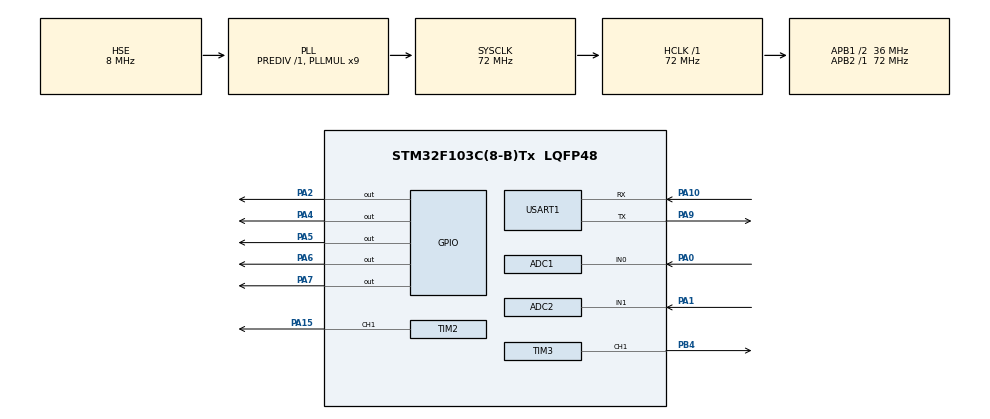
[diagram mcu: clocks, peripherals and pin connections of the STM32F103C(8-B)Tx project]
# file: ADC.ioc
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ADC1.Channel-0\#ChannelRegularConversion=ADC_CHANNEL_0
ADC1.NbrOfConversionFlag=1
ADC1.Rank-0\#ChannelRegularConversion=1
ADC1.SamplingTime-0\#ChannelRegularConversion=ADC_SAMPLETIME_1CYCLE_5
ADC1.master=1
ADC2.Channel-0\#ChannelRegularConversion=ADC_CHANNEL_1
ADC2.NbrOfConversionFlag=1
ADC2.Rank-0\#ChannelRegularConversion=1
ADC2.SamplingTime-0\#ChannelRegularConversion=ADC_SAMPLETIME_1CYCLE_5
Mcu.Family=STM32F1
Mcu.Name=STM32F103C(8-B)Tx
Mcu.Package=LQFP48
NVIC.PriorityGroup=NVIC_PRIORITYGROUP_4
NVIC.TIM2_IRQn=true\:0\:0\:false\:false\:true\:true\:true\:true
NVIC.TIM3_IRQn=true\:0\:0\:false\:false\:true\:true\:true\:true
PA0-WKUP.Signal=ADCx_IN0
PA1.Signal=ADCx_IN1
PA10.Mode=Asynchronous
PA10.Signal=USART1_RX
PA13.Mode=Serial_Wire
PA13.Signal=SYS_JTMS-SWDIO
PA14.Mode=Serial_Wire
PA14.Signal=SYS_JTCK-SWCLK
PA15.Signal=S_TIM2_CH1_ETR
PA2.PinState=GPIO_PIN_SET
PA2.Signal=GPIO_Output
PA4.PinState=GPIO_PIN_SET
PA4.Signal=GPIO_Output
PA5.PinState=GPIO_PIN_SET
PA5.Signal=GPIO_Output
PA6.PinState=GPIO_PIN_SET
PA6.Signal=GPIO_Output
PA7.PinState=GPIO_PIN_SET
PA7.Signal=GPIO_Output
PA9.Mode=Asynchronous
PA9.Signal=USART1_TX
PB4.Signal=S_TIM3_CH1
PD0-OSC_IN.Mode=HSE-External-Oscillator
PD0-OSC_IN.Signal=RCC_OSC_IN
PD1-OSC_OUT.Mode=HSE-External-Oscillator
PD1-OSC_OUT.Signal=RCC_OSC_OUT
ProjectManager.HeapSize=0x200
ProjectManager.StackSize=0x400
ProjectManager.TargetToolchain=MDK-ARM V5.32
RCC.ADCPresc=RCC_ADCPCLK2_DIV6
RCC.AHBFreq_Value=72000000
RCC.APB1CLKDivider=RCC_HCLK_DIV2
RCC.APB1Freq_Value=36000000
RCC.APB1TimFreq_Value=72000000
RCC.APB2Freq_Value=72000000
RCC.APB2TimFreq_Value=72000000
RCC.HCLKFreq_Value=72000000
RCC.PLLMUL=RCC_PLL_MUL9
RCC.PLLSourceVirtual=RCC_PLLSOURCE_HSE
RCC.SYSCLKFreq_VALUE=72000000
RCC.SYSCLKSource=RCC_SYSCLKSOURCE_PLLCLK
RCC.USBFreq_Value=72000000
SH.ADCx_IN0.0=ADC1_IN0,IN0
SH.ADCx_IN1.0=ADC2_IN1,IN1
SH.S_TIM2_CH1_ETR.0=TIM2_CH1,PWM Generation1 CH1
SH.S_TIM3_CH1.0=TIM3_CH1,PWM Generation1 CH1
TIM2.Channel-PWM\ Generation1\ CH1=TIM_CHANNEL_1
TIM2.Period=800-1
TIM2.Prescaler=72-1
TIM3.Channel-PWM\ Generation1\ CH1=TIM_CHANNEL_1
TIM3.Period=800-1
TIM3.Prescaler=72-1
USART1.VirtualMode=VM_ASYNC
board=custom

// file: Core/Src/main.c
/* USER CODE BEGIN Header */
/**
  ******************************************************************************
  * @file           : main.c
  * @brief          : Main program body
  ******************************************************************************
  * @attention
  *
  * Copyright (c) 2024 STMicroelectronics.
  * All rights reserved.
  *
  * This software is licensed under terms that can be found in the LICENSE file
  * in the root directory of this software component.
  * If no LICENSE file comes with this software, it is provided AS-IS.
  *
  ******************************************************************************
  */
/* USER CODE END Header */
#include "main.h"
#include "adc.h"
#include "tim.h"
#include "usart.h"
#include "gpio.h"

/* USER CODE BEGIN Includes */
#include "my_lib.h"
int QuanShu;
int ITjishu;
/* USER CODE END Includes */

/* USER CODE BEGIN PTD */
int fputc(int ch, FILE *f){
HAL_UART_Transmit (&huart1,(uint8_t *)&ch,1,0xffff);
	return ch;
}
/* USER CODE END PTD */

void SystemClock_Config(void);

/* USER CODE BEGIN 0 */
#include <stdio.h>
/* USER CODE END 0 */

int main(void)
{

  /* MCU Configuration--------------------------------------------------------*/

  /* Reset of all peripherals, Initializes the Flash interface and the Systick. */
  HAL_Init();

  /* Configure the system clock */
  SystemClock_Config();

  /* Initialize all configured peripherals */
  MX_GPIO_Init();
  MX_ADC1_Init();
  MX_ADC2_Init();
  MX_USART1_UART_Init();
  MX_TIM2_Init();
  MX_TIM3_Init();
  /* USER CODE BEGIN 2 */
	uint16_t ADC1_number = 0;
	uint16_t ADC2_number = 0;
	HAL_TIM_Base_Start_IT(&htim2);//启动定时器中断
	HAL_TIM_Base_Start_IT(&htim3);//启动定时器中断
	HAL_TIM_PWM_Start(&htim2,TIM_CHANNEL_1);//启动定时器中断
	HAL_TIM_PWM_Start(&htim3,TIM_CHANNEL_1);//启动定时器中断
	__HAL_TIM_SetAutoreload(&htim2,500);		//设置速度快慢
	__HAL_TIM_SetAutoreload(&htim3,500);		//设置速度快慢
	__HAL_TIM_SetCompare(&htim2, TIM_CHANNEL_1, 250);//设置脉冲  用不到
	__HAL_TIM_SetCompare(&htim3, TIM_CHANNEL_1, 250);//设置脉冲  用不到
  /* USER CODE END 2 */

  /* Infinite loop */
  /* USER CODE BEGIN WHILE */
  while (1)
  {
		HAL_ADC_Start(&hadc1);
		HAL_ADC_PollForConversion(&hadc1,HAL_MAX_DELAY);
		ADC1_number = (uint16_t)HAL_ADC_GetValue(&hadc1);

		HAL_ADC_Start(&hadc2);
		HAL_ADC_PollForConversion(&hadc2,HAL_MAX_DELAY);
		ADC2_number = (uint16_t)HAL_ADC_GetValue(&hadc2);

		if(ADC1_number >= 2248 && ADC1_number <= 4095)
		{
			dianji1_kongzhi(up,90,800);
		}
		else if(ADC1_number >= 0 && ADC1_number <= 1848)
		{
			dianji1_kongzhi(down,90,800);
		}
		else if(ADC1_number < 2248 && ADC1_number > 1848)
		{
			dianji1_kongzhi(down,0,0);
		}
		if(ADC2_number >= 2248 && ADC2_number <= 4095)
		{
			dianji2_kongzhi(up,90,800);
		}
		else if(ADC2_number >= 0 && ADC2_number <= 1848)
		{
			dianji2_kongzhi(down,90,800);
		}
		else if(ADC2_number < 2248 && ADC2_number > 1848)
		{
			dianji2_kongzhi(down,0,0);
		}
//	dianji2_kongzhi(0,100,800);
//	HAL_Delay(5000);
//	dianji2_kongzhi(1,100,800);
//	HAL_Delay(5000);
//	dianji1_kongzhi(up,100,800);
//	HAL_Delay(5000);
//	dianji1_kongzhi(down,100,800);
//	HAL_Delay(5000);

    /* USER CODE END WHILE */

  }
}

void SystemClock_Config(void)
{
  RCC_OscInitTypeDef RCC_OscInitStruct = {0};
  RCC_ClkInitTypeDef RCC_ClkInitStruct = {0};
  RCC_PeriphCLKInitTypeDef PeriphClkInit = {0};

  /** Initializes the RCC Oscillators according to the specified parameters
  * in the RCC_OscInitTypeDef structure.
  */
  RCC_OscInitStruct.OscillatorType = RCC_OSCILLATORTYPE_HSE;
  RCC_OscInitStruct.HSEState = RCC_HSE_ON;
  RCC_OscInitStruct.HSEPredivValue = RCC_HSE_PREDIV_DIV1;
  RCC_OscInitStruct.HSIState = RCC_HSI_ON;
  RCC_OscInitStruct.PLL.PLLState = RCC_PLL_ON;
  RCC_OscInitStruct.PLL.PLLSource = RCC_PLLSOURCE_HSE;
  RCC_OscInitStruct.PLL.PLLMUL = RCC_PLL_MUL9;
  if (HAL_RCC_OscConfig(&RCC_OscInitStruct) != HAL_OK)
  {
    Error_Handler();
  }

  /** Initializes the CPU, AHB and APB buses clocks
  */
  RCC_ClkInitStruct.ClockType = RCC_CLOCKTYPE_HCLK|RCC_CLOCKTYPE_SYSCLK
                              |RCC_CLOCKTYPE_PCLK1|RCC_CLOCKTYPE_PCLK2;
  RCC_ClkInitStruct.SYSCLKSource = RCC_SYSCLKSOURCE_PLLCLK;
  RCC_ClkInitStruct.AHBCLKDivider = RCC_SYSCLK_DIV1;
  RCC_ClkInitStruct.APB1CLKDivider = RCC_HCLK_DIV2;
  RCC_ClkInitStruct.APB2CLKDivider = RCC_HCLK_DIV1;

  if (HAL_RCC_ClockConfig(&RCC_ClkInitStruct, FLASH_LATENCY_2) != HAL_OK)
  {
    Error_Handler();
  }
  PeriphClkInit.PeriphClockSelection = RCC_PERIPHCLK_ADC;
  PeriphClkInit.AdcClockSelection = RCC_ADCPCLK2_DIV6;
  if (HAL_RCCEx_PeriphCLKConfig(&PeriphClkInit) != HAL_OK)
  {
    Error_Handler();
  }
}

void Error_Handler(void)
{
  __disable_irq();
  while (1)
  {
  }
}
